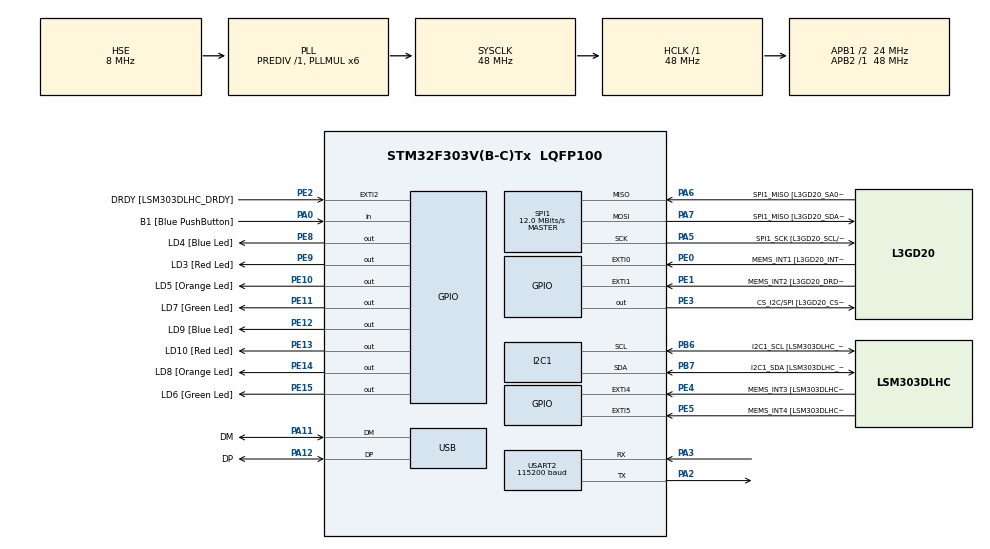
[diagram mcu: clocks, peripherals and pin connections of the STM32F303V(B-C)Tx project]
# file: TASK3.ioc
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I2C1.Timing=0x00201D2B
I2C1.Timing-I2C=0x2000090E
Mcu.Family=STM32F3
Mcu.Name=STM32F303V(B-C)Tx
Mcu.Package=LQFP100
NVIC.PriorityGroup=NVIC_PRIORITYGROUP_0
PA0.GPIO_Label=B1 [Blue PushButton]
PA0.Signal=GPIO_Input
PA11.GPIO_Label=DM
PA11.Mode=Device
PA11.Signal=USB_DM
PA12.GPIO_Label=DP
PA12.Mode=Device
PA12.Signal=USB_DP
PA13.GPIO_Label=SWDIO
PA13.Mode=Serial_Wire
PA13.Signal=SYS_JTMS-SWDIO
PA14.GPIO_Label=SWCLK
PA14.Mode=Serial_Wire
PA14.Signal=SYS_JTCK-SWCLK
PA2.Mode=Asynchronous
PA2.Signal=USART2_TX
PA3.Mode=Asynchronous
PA3.Signal=USART2_RX
PA5.GPIO_Label=SPI1_SCK [L3GD20_SCL/SPC]
PA5.Mode=Full_Duplex_Master
PA5.Signal=SPI1_SCK
PA6.GPIO_Label=SPI1_MISO [L3GD20_SA0/SDO]
PA6.Mode=Full_Duplex_Master
PA6.Signal=SPI1_MISO
PA7.GPIO_Label=SPI1_MISO [L3GD20_SDA/SDI/SDO]
PA7.Mode=Full_Duplex_Master
PA7.Signal=SPI1_MOSI
PB3.GPIO_Label=SWO
PB3.Signal=SYS_JTDO-TRACESWO
PB6.GPIO_Label=I2C1_SCL [LSM303DLHC_SCL]
PB6.GPIO_Pu=GPIO_PULLUP
PB6.Mode=I2C
PB6.Signal=I2C1_SCL
PB7.GPIO_Label=I2C1_SDA [LSM303DLHC_SDA]
PB7.GPIO_Pu=GPIO_PULLUP
PB7.Mode=I2C
PB7.Signal=I2C1_SDA
PC14-OSC32_IN.GPIO_Label=OSC32_IN
PC14-OSC32_IN.Signal=RCC_OSC32_IN
PC15-OSC32_OUT.GPIO_Label=OSC32_OUT
PC15-OSC32_OUT.Signal=RCC_OSC32_OUT
PE0.GPIO_Label=MEMS_INT1 [L3GD20_INT1]
PE0.GPIO_ModeDefaultEXTI=GPIO_MODE_EVT_RISING
PE0.Signal=GPXTI0
PE1.GPIO_Label=MEMS_INT2 [L3GD20_DRDY/INT2]
PE1.GPIO_ModeDefaultEXTI=GPIO_MODE_EVT_RISING
PE1.Signal=GPXTI1
PE10.GPIO_Label=LD5 [Orange Led]
PE10.Signal=GPIO_Output
PE11.GPIO_Label=LD7 [Green Led]
PE11.Signal=GPIO_Output
PE12.GPIO_Label=LD9 [Blue Led]
PE12.Signal=GPIO_Output
PE13.GPIO_Label=LD10 [Red Led]
PE13.Signal=GPIO_Output
PE14.GPIO_Label=LD8 [Orange Led]
PE14.Signal=GPIO_Output
PE15.GPIO_Label=LD6 [Green Led]
PE15.Signal=GPIO_Output
PE2.GPIO_Label=DRDY [LSM303DLHC_DRDY]
PE2.GPIO_ModeDefaultEXTI=GPIO_MODE_EVT_RISING
PE2.Signal=GPXTI2
PE3.GPIO_Label=CS_I2C/SPI [L3GD20_CS_I2C/SPI]
PE3.Signal=GPIO_Output
PE4.GPIO_Label=MEMS_INT3 [LSM303DLHC_INT1]
PE4.GPIO_ModeDefaultEXTI=GPIO_MODE_EVT_RISING
PE4.Signal=GPXTI4
PE5.GPIO_Label=MEMS_INT4 [LSM303DLHC_INT2]
PE5.GPIO_ModeDefaultEXTI=GPIO_MODE_EVT_RISING
PE5.Signal=GPXTI5
PE8.GPIO_Label=LD4 [Blue Led]
PE8.Signal=GPIO_Output
PE9.GPIO_Label=LD3 [Red Led]
PE9.Signal=GPIO_Output
PF0-OSC_IN.GPIO_Label=OSC_IN
PF0-OSC_IN.Mode=HSE-External-Clock-Source
PF0-OSC_IN.Signal=RCC_OSC_IN
PF1-OSC_OUT.GPIO_Label=OSC_OUT
PF1-OSC_OUT.Signal=RCC_OSC_OUT
ProjectManager.HeapSize=0x200
ProjectManager.StackSize=0x400
ProjectManager.TargetToolchain=CMake
RCC.AHBFreq_Value=48000000
RCC.APB1CLKDivider=RCC_HCLK_DIV2
RCC.APB1Freq_Value=24000000
RCC.APB1TimFreq_Value=48000000
RCC.APB2Freq_Value=48000000
RCC.APB2TimFreq_Value=48000000
RCC.CortexFreq_Value=48000000
RCC.HCLKFreq_Value=48000000
RCC.HSE_VALUE=8000000
RCC.HSI_VALUE=8000000
RCC.LSE_VALUE=32768
RCC.PLLMUL=RCC_PLL_MUL6
RCC.SYSCLKFreq_VALUE=48000000
RCC.SYSCLKSourceVirtual=RCC_SYSCLKSOURCE_PLLCLK
RCC.USBFreq_Value=48000000
SPI1.BaudRatePrescaler=SPI_BAUDRATEPRESCALER_4
SPI1.BaudRatePrescaler-Full_Duplex_Master=SPI_BAUDRATEPRESCALER_2
SPI1.CalculateBaudRate=12.0 MBits/s
SPI1.CalculateBaudRate-Full_Duplex_Master=24.0 MBits/s
SPI1.Direction=SPI_DIRECTION_2LINES
SPI1.Mode=SPI_MODE_MASTER
SPI1.Mode-Full_Duplex_Master=SPI_MODE_MASTER
SPI1.VirtualType=VM_MASTER
USART2.BaudRate=115200
USART2.VirtualMode-Asynchronous=VM_ASYNC
board=STM32F3DISCOVERY

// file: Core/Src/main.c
/* USER CODE BEGIN Header */
/**
 ******************************************************************************
 * @file           : main.c
 * @brief          : Main program body
 ******************************************************************************
 * @attention
 *
 * Copyright (c) 2025 STMicroelectronics.
 * All rights reserved.
 *
 * This software is licensed under terms that can be found in the LICENSE file
 * in the root directory of this software component.
 * If no LICENSE file comes with this software, it is provided AS-IS.
 *
 ******************************************************************************
 */
/* USER CODE END Header */
#include "main.h"
#include <stdio.h>
#include <math.h>
#ifndef M_PI
#define M_PI 3.14159265358979323846f
#endif
#include "stm32f3xx_hal_i2c.h"

I2C_HandleTypeDef hi2c1;

SPI_HandleTypeDef hspi1;

UART_HandleTypeDef huart2;

PCD_HandleTypeDef hpcd_USB_FS;

void SystemClock_Config(void);
static void MX_GPIO_Init(void);
static void MX_I2C1_Init(void);
static void MX_SPI1_Init(void);
static void MX_USART2_UART_Init(void);
static void MX_USB_PCD_Init(void);

/* USER CODE BEGIN 0 */

#define LSM303AGR_ACC_ADDR (0x19 << 1) // I2C address for accelerometer
#define CTRL_REG1_A 0x20
#define CTRL_REG4_A 0x23
#define OUT_X_L_A 0x28

#define WHO_AM_I_G 0x0F
#define CTRL_REG1_G 0x20
#define CTRL_REG4_G 0x23
#define OUT_Y_L_G 0x2A
#define OUT_Y_H_G 0x2B

// ===== SPI CS Control =====
#define CS_LOW() HAL_GPIO_WritePin(GPIOE, GPIO_PIN_3, GPIO_PIN_RESET) // Adjust pin as per your config
#define CS_HIGH() HAL_GPIO_WritePin(GPIOE, GPIO_PIN_3, GPIO_PIN_SET)

// ===== UART printf support =====
int _write(int file, char *ptr, int len)
{
  HAL_UART_Transmit(&huart2, (uint8_t *)ptr, len, HAL_MAX_DELAY);
  return len;
}

typedef struct
   {
    int16_t raw_ax, raw_ay, raw_az;
    float ax, ay, az;
    float ax_offset, ay_offset, az_offset;
    int16_t raw_gx, raw_gy, raw_gz;
    float gx, gy, gz;
    float gy_offset;
   } SensorData;

SensorData sensor;

// --- Function prototypes ---
void Init_LSM(void);
void Init_Gyro(void);
void Read_Accel(SensorData *s, float apply_offset);
void Read_Gyro(SensorData *s);
void Calibrate_Gyro(SensorData *s);
void Offset_LSM(SensorData *data);
/* USER CODE END 0 */
float accAngleY = 0, gyroAngleX = 0, angleX = 0;
float dt = 0.1f; // 100ms loop delay
int main(void)
{

  /* MCU Configuration--------------------------------------------------------*/

  /* Reset of all peripherals, Initializes the Flash interface and the Systick. */

  HAL_Init();

  /* Configure the system clock */
  SystemClock_Config();

  /* Initialize all configured peripherals */
  MX_GPIO_Init();
  MX_I2C1_Init();
  MX_SPI1_Init();
  MX_USART2_UART_Init();
  MX_USB_PCD_Init();
  /* USER CODE BEGIN 2 */
  Init_LSM();
  Init_Gyro();
  Offset_LSM(&sensor);
  Calibrate_Gyro(&sensor);
  printf("System Ready\r\n");
  /* USER CODE END 2 */

  /* Infinite loop */
  /* USER CODE BEGIN WHILE */

  // Fix 1: Correct the while loop
while (1)
{
    Read_Accel(&sensor, 1);  // Pass 1 to apply offset, or 0 to not apply
    Read_Gyro(&sensor);

    // --- Compute tilt from accelerometer (Y-axis only) ---
    float y_norm = sensor.ay / 9.81;

    // Clamp to [-1, 1] to be safe
    if (y_norm > 1.0f)  y_norm = 1.0f;
    if (y_norm < -1.0f) y_norm = -1.0f;

    // angle of Y axis w.r.t. gravity (in degrees)
    accAngleY = asinf(y_norm) * 180.0f / M_PI;

    // --- Complementary Filter (FIXED: use sensor.gy not sensor.gx) ---
    angleX = 0.98f * (angleX + sensor.gy * dt) + 0.02f * accAngleY;

    // --- Print: Accel Angle, Gyro Rate, Fused Angle ---// After #include <math.h>
extern float asinf(float);
extern double fabs(double);

    printf("%.2f\t %.2f\t %.2f\t\r\n", accAngleY, sensor.gy, angleX);

    HAL_Delay(100);
}
}

void Init_LSM(void)
{
  uint8_t data[2];

  // Enable all axes, 100 Hz, normal mode
  data[0] = CTRL_REG1_A;
  data[1] = 0x67;
  HAL_I2C_Mem_Write(&hi2c1, 0x32, 0x20,I2C_MEMADD_SIZE_8BIT, &data[1], 1, HAL_MAX_DELAY);

  // ±2g, continuous update
  data[0] = CTRL_REG4_A;
  data[1] = 0x00;
  HAL_I2C_Mem_Write(&hi2c1, 0x32, 0x23,I2C_MEMADD_SIZE_8BIT, &data[1], 1, HAL_MAX_DELAY);

  HAL_Delay(50);

  // Verify configuration
  uint8_t whoami = 0, ctrl1 = 0;
  HAL_I2C_Mem_Read(&hi2c1, LSM303AGR_ACC_ADDR, 0x0F, I2C_MEMADD_SIZE_8BIT, &whoami, 1, HAL_MAX_DELAY);
  HAL_I2C_Mem_Read(&hi2c1, LSM303AGR_ACC_ADDR, CTRL_REG1_A, I2C_MEMADD_SIZE_8BIT, &ctrl1, 1, HAL_MAX_DELAY);
  printf("WHO_AM_I = 0x%02X, CTRL_REG1_A = 0x%02X\r\n", whoami, ctrl1);

  printf("LSM303AGR Initialized\r\n");
}
void spi_write(uint8_t reg, uint8_t value)
{
    uint8_t data[2] = {reg & 0x7F, value};  // Write: MSB = 0
    CS_LOW();
    HAL_SPI_Transmit(&hspi1, data, 2, HAL_MAX_DELAY);
    CS_HIGH();
}

uint8_t spi_read(uint8_t reg)
{
    uint8_t tx[2];
    uint8_t rx[2];
    tx[0] = reg | 0x80; // Read: MSB = 1
    tx[1] = 0x00;

    CS_LOW();
    HAL_SPI_TransmitReceive(&hspi1, tx, rx, 2, HAL_MAX_DELAY);
    CS_HIGH();

    return rx[1];
}
void spi_read_axis(uint8_t reg_low, int16_t *value)
{
    uint8_t low = spi_read(reg_low);
    uint8_t high = spi_read(reg_low + 1);
    *value = (int16_t)(high << 8 | low);
}

void Init_Gyro(void)
{
    // Small delay to ensure sensor is ready
    HAL_Delay(100);

    uint8_t whoami = spi_read(WHO_AM_I_G);

    if (whoami != 0xD3) // Expected value for I3G4250D
    {
        printf("Gyro WHO_AM_I error: 0x%02X (expected 0xD3)\r\n", whoami);
    }
    else
    {
        printf("Gyro WHO_AM_I: 0x%02X - OK\r\n", whoami);
    }

    // CTRL_REG1: Power on, enable X/Y/Z, ODR = 100Hz, BW = 25Hz
    // 0x0F = 0000 1111 (DR=00, BW=00, PD=1, Zen=1, Yen=1, Xen=1)
    spi_write(CTRL_REG1_G, 0x0F);

    // CTRL_REG4: ±245 dps full-scale, continuous update
    // 0x00 = 0000 0000 (BDU=0, BLE=0, FS=00, -)
    spi_write(CTRL_REG4_G, 0x00);

    HAL_Delay(50);
    printf("I3G4250D Gyroscope Initialized\r\n");
}

void Read_Gyro(SensorData *s)
{
    int16_t gy_raw;
    uint8_t yl = spi_read(OUT_Y_L_G);
    uint8_t yh = spi_read(OUT_Y_H_G);

    gy_raw = (int16_t)(yh << 8 | yl);
    s->raw_gy = gy_raw;
    s->gy = (gy_raw * 8.75f / 1000.0f) - s->gy_offset;

    // Dead-zone: ignore very small gyro values
    if (fabs(s->gy) < 0.1f)  // 0.1 deg/s threshold
        s->gy = 0.0f;
}

void Calibrate_Gyro(SensorData *s)
{
    float sum_gy = 0;
    uint16_t samples = 500;  // Increase samples

    printf("Calibrating gyroscope in 2 seconds...\r\n");
    HAL_Delay(2000);  // Give time to place device flat
    printf("Calibrating... Keep sensor STILL!\r\n");

    for (uint16_t i = 0; i < samples; i++)
    {
        int16_t gy_raw;
        uint8_t yl = spi_read(OUT_Y_L_G);
        uint8_t yh = spi_read(OUT_Y_H_G);

        gy_raw = (int16_t)(yh << 8 | yl);
        sum_gy += gy_raw * 8.75f / 1000.0f;

        HAL_Delay(10);
    }

    s->gy_offset = sum_gy / samples;

    printf("Gyro Y Offset: %.3f deg/s\r\n", s->gy_offset);
}

void Read_Accel(SensorData *data, float apply_offset)
{
  uint8_t raw[6];
  HAL_I2C_Mem_Read(&hi2c1, 0x32, OUT_X_L_A | 0x80, I2C_MEMADD_SIZE_8BIT, raw, 6, HAL_MAX_DELAY);

  data->raw_ay = (int16_t)((raw[3] << 8) | raw[2]);

  data->raw_ay = (data->raw_ay) >> 6 ;

  float ay_scaled = data->raw_ay * 0.004f * 9.81f;

  if (apply_offset)
  {
    data->ay = ay_scaled - data->ay_offset;
  }
  else
  {
    data->ay = ay_scaled;
  }
}

void Offset_LSM(SensorData *data)
{
  float sum_y = 0;
  uint8_t i;

  printf("Calibrating offsets... Keep sensor still.\r\n");

  for (i = 0; i < 20; i++)
  {
    Read_Accel(data, 0); // Read without subtracting offset
    sum_y += data->ay;
    HAL_Delay(100);
  }

  data->ay_offset = sum_y / 20.0f;

  printf("Offsets -> X: %.2f, Y: %.2f, Z: %.2f\r\n", data->ax_offset, data->ay_offset, data->az_offset);
}

void SystemClock_Config(void)
{
  RCC_OscInitTypeDef RCC_OscInitStruct = {0};
  RCC_ClkInitTypeDef RCC_ClkInitStruct = {0};
  RCC_PeriphCLKInitTypeDef PeriphClkInit = {0};

  /** Initializes the RCC Oscillators according to the specified parameters
   * in the RCC_OscInitTypeDef structure.
   */
  RCC_OscInitStruct.OscillatorType = RCC_OSCILLATORTYPE_HSI | RCC_OSCILLATORTYPE_HSE;
  RCC_OscInitStruct.HSEState = RCC_HSE_BYPASS;
  RCC_OscInitStruct.HSEPredivValue = RCC_HSE_PREDIV_DIV1;
  RCC_OscInitStruct.HSIState = RCC_HSI_ON;
  RCC_OscInitStruct.HSICalibrationValue = RCC_HSICALIBRATION_DEFAULT;
  RCC_OscInitStruct.PLL.PLLState = RCC_PLL_ON;
  RCC_OscInitStruct.PLL.PLLSource = RCC_PLLSOURCE_HSE;
  RCC_OscInitStruct.PLL.PLLMUL = RCC_PLL_MUL6;
  if (HAL_RCC_OscConfig(&RCC_OscInitStruct) != HAL_OK)
  {
    Error_Handler();
  }

  /** Initializes the CPU, AHB and APB buses clocks
   */
  RCC_ClkInitStruct.ClockType = RCC_CLOCKTYPE_HCLK | RCC_CLOCKTYPE_SYSCLK | RCC_CLOCKTYPE_PCLK1 | RCC_CLOCKTYPE_PCLK2;
  RCC_ClkInitStruct.SYSCLKSource = RCC_SYSCLKSOURCE_PLLCLK;
  RCC_ClkInitStruct.AHBCLKDivider = RCC_SYSCLK_DIV1;
  RCC_ClkInitStruct.APB1CLKDivider = RCC_HCLK_DIV2;
  RCC_ClkInitStruct.APB2CLKDivider = RCC_HCLK_DIV1;

  if (HAL_RCC_ClockConfig(&RCC_ClkInitStruct, FLASH_LATENCY_1) != HAL_OK)
  {
    Error_Handler();
  }
  PeriphClkInit.PeriphClockSelection = RCC_PERIPHCLK_USB | RCC_PERIPHCLK_USART2 | RCC_PERIPHCLK_I2C1;
  PeriphClkInit.Usart2ClockSelection = RCC_USART2CLKSOURCE_PCLK1;
  PeriphClkInit.I2c1ClockSelection = RCC_I2C1CLKSOURCE_HSI;
  PeriphClkInit.USBClockSelection = RCC_USBCLKSOURCE_PLL;
  if (HAL_RCCEx_PeriphCLKConfig(&PeriphClkInit) != HAL_OK)
  {
    Error_Handler();
  }
}

static void MX_I2C1_Init(void)
{

  hi2c1.Instance = I2C1;
  hi2c1.Init.Timing = 0x00201D2B;
  hi2c1.Init.OwnAddress1 = 0;
  hi2c1.Init.AddressingMode = I2C_ADDRESSINGMODE_7BIT;
  hi2c1.Init.DualAddressMode = I2C_DUALADDRESS_DISABLE;
  hi2c1.Init.OwnAddress2 = 0;
  hi2c1.Init.OwnAddress2Masks = I2C_OA2_NOMASK;
  hi2c1.Init.GeneralCallMode = I2C_GENERALCALL_DISABLE;
  hi2c1.Init.NoStretchMode = I2C_NOSTRETCH_DISABLE;
  if (HAL_I2C_Init(&hi2c1) != HAL_OK)
  {
    Error_Handler();
  }

  /** Configure Analogue filter
   */
  if (HAL_I2CEx_ConfigAnalogFilter(&hi2c1, I2C_ANALOGFILTER_ENABLE) != HAL_OK)
  {
    Error_Handler();
  }

  /** Configure Digital filter
   */
  if (HAL_I2CEx_ConfigDigitalFilter(&hi2c1, 0) != HAL_OK)
  {
    Error_Handler();
  }
}

static void MX_SPI1_Init(void)
{
    hspi1.Instance = SPI1;
    hspi1.Init.Mode = SPI_MODE_MASTER;
    hspi1.Init.Direction = SPI_DIRECTION_2LINES;
    hspi1.Init.DataSize = SPI_DATASIZE_8BIT;        // 8-bit
    hspi1.Init.CLKPolarity = SPI_POLARITY_HIGH;     // mode 3
    hspi1.Init.CLKPhase = SPI_PHASE_2EDGE;          // mode 3
    hspi1.Init.NSS = SPI_NSS_SOFT;
    hspi1.Init.BaudRatePrescaler = SPI_BAUDRATEPRESCALER_4; // fine
    hspi1.Init.FirstBit = SPI_FIRSTBIT_MSB;
    hspi1.Init.TIMode = SPI_TIMODE_DISABLE;
    hspi1.Init.CRCCalculation = SPI_CRCCALCULATION_DISABLE;
    hspi1.Init.CRCPolynomial = 7;
    hspi1.Init.CRCLength = SPI_CRC_LENGTH_DATASIZE;
    hspi1.Init.NSSPMode = SPI_NSS_PULSE_DISABLE; // or ENABLE, both usually ok
    if (HAL_SPI_Init(&hspi1) != HAL_OK)
    {
        Error_Handler();
    }
}

static void MX_USART2_UART_Init(void)
{

  huart2.Instance = USART2;
  huart2.Init.BaudRate = 115200;
  huart2.Init.WordLength = UART_WORDLENGTH_8B;
  huart2.Init.StopBits = UART_STOPBITS_1;
  huart2.Init.Parity = UART_PARITY_NONE;
  huart2.Init.Mode = UART_MODE_TX_RX;
  huart2.Init.HwFlowCtl = UART_HWCONTROL_NONE;
  huart2.Init.OverSampling = UART_OVERSAMPLING_16;
  huart2.Init.OneBitSampling = UART_ONE_BIT_SAMPLE_DISABLE;
  huart2.AdvancedInit.AdvFeatureInit = UART_ADVFEATURE_NO_INIT;
  if (HAL_UART_Init(&huart2) != HAL_OK)
  {
    Error_Handler();
  }
}

static void MX_USB_PCD_Init(void)
{

  hpcd_USB_FS.Instance = USB;
  hpcd_USB_FS.Init.dev_endpoints = 8;
  hpcd_USB_FS.Init.speed = PCD_SPEED_FULL;
  hpcd_USB_FS.Init.phy_itface = PCD_PHY_EMBEDDED;
  hpcd_USB_FS.Init.low_power_enable = DISABLE;
  hpcd_USB_FS.Init.battery_charging_enable = DISABLE;
  if (HAL_PCD_Init(&hpcd_USB_FS) != HAL_OK)
  {
    Error_Handler();
  }
}

static void MX_GPIO_Init(void)
{
  GPIO_InitTypeDef GPIO_InitStruct = {0};

  /* GPIO Ports Clock Enable */
  __HAL_RCC_GPIOE_CLK_ENABLE();
  __HAL_RCC_GPIOC_CLK_ENABLE();
  __HAL_RCC_GPIOF_CLK_ENABLE();
  __HAL_RCC_GPIOA_CLK_ENABLE();
  __HAL_RCC_GPIOB_CLK_ENABLE();

  /*Configure GPIO pin Output Level */
  HAL_GPIO_WritePin(GPIOE, CS_I2C_SPI_Pin | LD4_Pin | LD3_Pin | LD5_Pin | LD7_Pin | LD9_Pin | LD10_Pin | LD8_Pin | LD6_Pin, GPIO_PIN_RESET);

  /*Configure GPIO pins : DRDY_Pin MEMS_INT3_Pin MEMS_INT4_Pin MEMS_INT1_Pin
                           MEMS_INT2_Pin */
  GPIO_InitStruct.Pin = DRDY_Pin | MEMS_INT3_Pin | MEMS_INT4_Pin | MEMS_INT1_Pin | MEMS_INT2_Pin;
  GPIO_InitStruct.Mode = GPIO_MODE_EVT_RISING;
  GPIO_InitStruct.Pull = GPIO_NOPULL;
  HAL_GPIO_Init(GPIOE, &GPIO_InitStruct);

  /*Configure GPIO pins : CS_I2C_SPI_Pin LD4_Pin LD3_Pin LD5_Pin
                           LD7_Pin LD9_Pin LD10_Pin LD8_Pin
                           LD6_Pin */
  GPIO_InitStruct.Pin = CS_I2C_SPI_Pin | LD4_Pin | LD3_Pin | LD5_Pin | LD7_Pin | LD9_Pin | LD10_Pin | LD8_Pin | LD6_Pin;
  GPIO_InitStruct.Mode = GPIO_MODE_OUTPUT_PP;
  GPIO_InitStruct.Pull = GPIO_NOPULL;
  GPIO_InitStruct.Speed = GPIO_SPEED_FREQ_LOW;
  HAL_GPIO_Init(GPIOE, &GPIO_InitStruct);

  /*Configure GPIO pin : B1_Pin */
  GPIO_InitStruct.Pin = B1_Pin;
  GPIO_InitStruct.Mode = GPIO_MODE_INPUT;
  GPIO_InitStruct.Pull = GPIO_NOPULL;
  HAL_GPIO_Init(B1_GPIO_Port, &GPIO_InitStruct);

}

void Error_Handler(void)
{
  __disable_irq();
  while (1)
  {
  }
}
